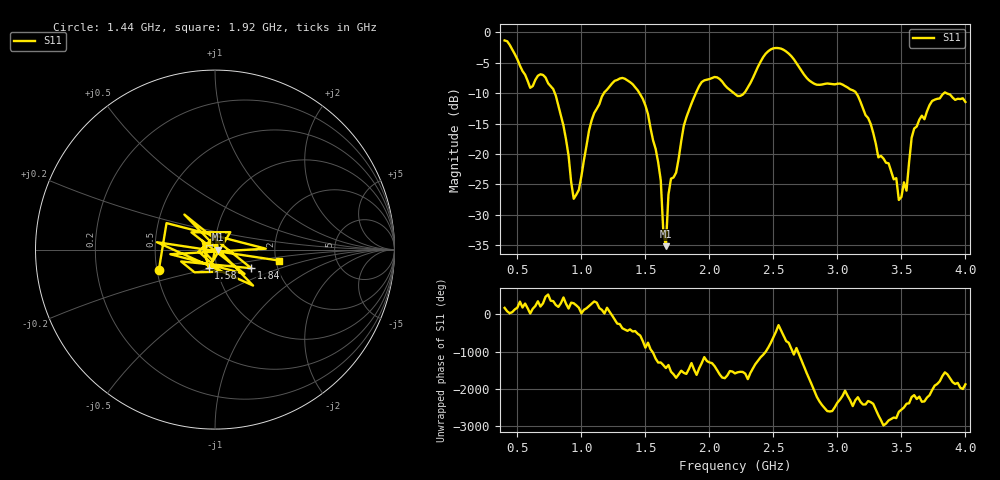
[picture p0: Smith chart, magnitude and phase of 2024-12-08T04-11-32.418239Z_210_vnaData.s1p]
!Created with skrf (http://scikit-rf.org).
# Hz S RI R 50.0
!freq ReS11 ImS11
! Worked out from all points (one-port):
!   181 points, 400 MHz to 4 GHz, reference 50 ohm
!   lowest |S11| = -35.1 dB at 1.66 GHz (marker M1), VSWR 1.04, Z = 51.8 - j0.121 ohm
!   |S11| at or under -10 dB: 792.2 MHz to 1.176 GHz (383.8 MHz wide, 39 % of centre); 1.453 GHz to 1.895 GHz (441.3 MHz wide, 26.4 % of centre); 3.147 GHz to 3.834 GHz (687.1 MHz wide, 19.7 % of centre) (the widest 3 of 5)
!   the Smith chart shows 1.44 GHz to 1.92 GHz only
!   S11 on the Smith chart (normalised r, x): 1.44 GHz: 0.51, -0.13; 1.58 GHz: 0.91, -0.19; 1.84 GHz: 1.47, -0.32; 1.92 GHz: 2.08, -0.29
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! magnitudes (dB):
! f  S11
! 400 MHz  -1.4
! 600 MHz  -9.1
! 720 MHz  -7.5
! 860 MHz  -15.4
! 940 MHz  -27.4
! 1.1 GHz  -13.3
! 1.3 GHz  -7.6
! 1.44 GHz  -9.5
! 1.58 GHz  -19.2
! 1.62 GHz  -24.3
! 1.64 GHz  -32.8
! 1.66 GHz  -35.1
! 1.68 GHz  -26.7
! 1.76 GHz  -20.7
! 1.84 GHz  -12.9
! 1.92 GHz  -8.9
! 2.2 GHz  -10.1
! 2.48 GHz  -2.8
! 2.66 GHz  -4.5
! 3.1 GHz  -9.4
! 3.32 GHz  -20.6
! 3.46 GHz  -24.0
! 3.48 GHz  -27.5
! 3.54 GHz  -26.0
! 3.56 GHz  -21.4
! 3.6 GHz  -15.8
! 3.74 GHz  -11.3
! 4 GHz  -11.5
